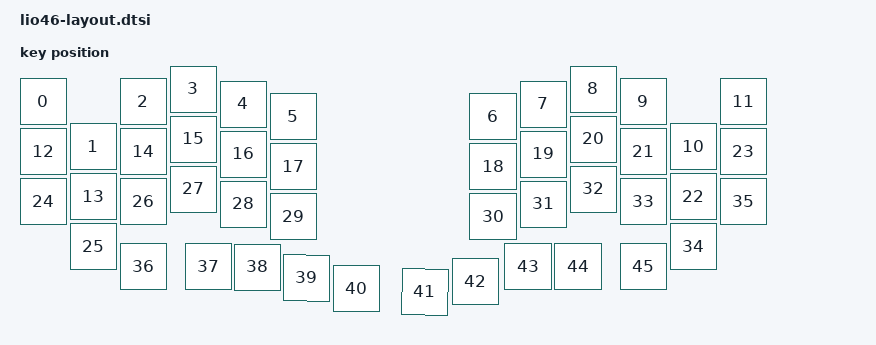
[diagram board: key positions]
#include <physical_layouts.dtsi>


/ {
    physical_layout0: physical_layout0 {
        compatible = "zmk,physical-layout";
        display-name = "Default";
        transform = <&default_transform>;
        // kscan = <&kscan0>;

        // each block is a full row of 12 keys
        keys  //                     w   h    x    y     rot    rx    ry
            // row 1
            = <&key_physical_attrs 100 100    0   70       0     0     0>  // Col 1, offset 30 up
            , <&key_physical_attrs 100 100  100  160       0     0     0>  // Col 2, offset 60 down
            , <&key_physical_attrs 100 100  200   70       0     0     0>  // Col 3, offset 30 up
            , <&key_physical_attrs 100 100  300   45       0     0     0>  // Col 4, offset 55 up
            , <&key_physical_attrs 100 100  400   75       0     0     0>  // Col 5, offset 25 up
            , <&key_physical_attrs 100 100  500  100       0     0     0>

            , <&key_physical_attrs 100 100  900  100       0     0     0>
            , <&key_physical_attrs 100 100 1000   75       0     0     0>  // Col 8, offset 25 up
            , <&key_physical_attrs 100 100 1100   45       0     0     0>  // Col 9, offset 55 up
            , <&key_physical_attrs 100 100 1200   70       0     0     0>  // Col 10, offset 30 up
            , <&key_physical_attrs 100 100 1300  160       0     0     0>  // Col 11, offset 60 down
            , <&key_physical_attrs 100 100 1400   70       0     0     0>  // Col 12, offset 30 up

            // row 2
            , <&key_physical_attrs 100 100    0  170       0     0     0>  // Col 1, offset 30 up
            , <&key_physical_attrs 100 100  100  260       0     0     0>  // Col 2, offset 60 down
            , <&key_physical_attrs 100 100  200  170       0     0     0>  // Col 3, offset 30 up
            , <&key_physical_attrs 100 100  300  145       0     0     0>  // Col 4, offset 55 up
            , <&key_physical_attrs 100 100  400  175       0     0     0>  // Col 5, offset 25 up
            , <&key_physical_attrs 100 100  500  200       0     0     0>

            , <&key_physical_attrs 100 100  900  200       0     0     0>
            , <&key_physical_attrs 100 100 1000  175       0     0     0>  // Col 8, offset 25 up
            , <&key_physical_attrs 100 100 1100  145       0     0     0>  // Col 9, offset 55 up
            , <&key_physical_attrs 100 100 1200  170       0     0     0>  // Col 10, offset 30 up
            , <&key_physical_attrs 100 100 1300  260       0     0     0>  // Col 11, offset 60 down
            , <&key_physical_attrs 100 100 1400  170       0     0     0>  // Col 12, offset 30 up

            // row 3
            , <&key_physical_attrs 100 100    0  270       0     0     0>  // Col 1, offset 30 up
            , <&key_physical_attrs 100 100  100  360       0     0     0>  // Col 2, offset 60 down
            , <&key_physical_attrs 100 100  200  270       0     0     0>  // Col 3, offset 30 up
            , <&key_physical_attrs 100 100  300  245       0     0     0>  // Col 4, offset 55 up
            , <&key_physical_attrs 100 100  400  275       0     0     0>  // Col 5, offset 25 up
            , <&key_physical_attrs 100 100  500  300       0     0     0>

            , <&key_physical_attrs 100 100  900  300       0     0     0>
            , <&key_physical_attrs 100 100 1000  275       0     0     0>  // Col 8, offset 25 up
            , <&key_physical_attrs 100 100 1100  245       0     0     0>  // Col 9, offset 55 up
            , <&key_physical_attrs 100 100 1200  270       0     0     0>  // Col 10, offset 30 up
            , <&key_physical_attrs 100 100 1300  360       0     0     0>  // Col 11, offset 60 down
            , <&key_physical_attrs 100 100 1400  270       0     0     0>  // Col 12, offset 30 up

            // row 4
            , <&key_physical_attrs 100 100  200  400       0     0     0>
            , <&key_physical_attrs 100 100  330  400       0     0     0>
            , <&key_physical_attrs 100 100  430  400       15    0     0>
            , <&key_physical_attrs 100 100  530  420       30    0     0>
            , <&key_physical_attrs 100 100  630  440       30    0     0>

            , <&key_physical_attrs 100 100  770  440       75    0     0>
            , <&key_physical_attrs 100 100  870  420       60    0     0>
            , <&key_physical_attrs 100 100  970  400       0     0     0>
            , <&key_physical_attrs 100 100 1070  400       0     0     0>
            , <&key_physical_attrs 100 100 1200  400       0     0     0>
            ;
    };
};
